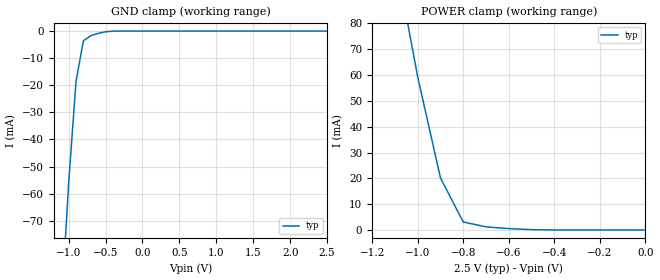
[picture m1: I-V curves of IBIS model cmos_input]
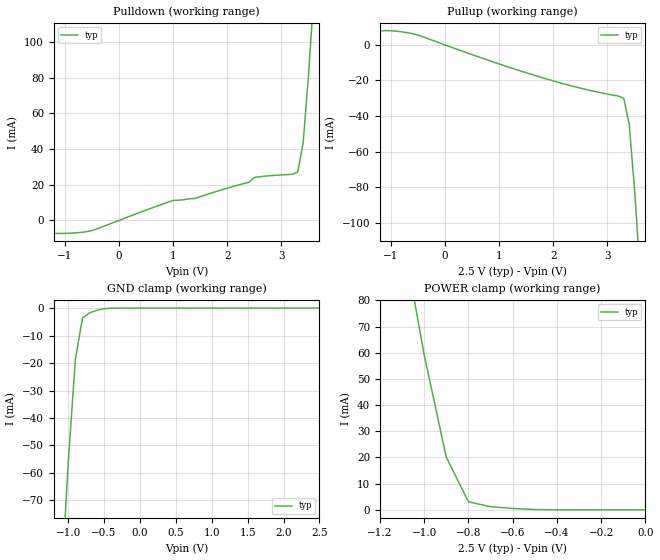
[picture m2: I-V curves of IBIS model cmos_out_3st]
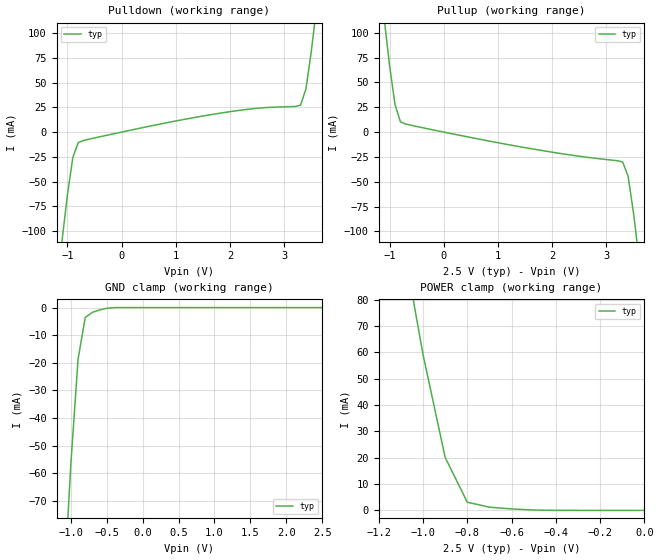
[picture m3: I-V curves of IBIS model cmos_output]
|   This file is an IBIS representation of the   |
|   analog devices   |
|   AD9361   |
|=================== Header Section -------------------------------------------|
[IBIS Ver]  3.2
[File Name] ad9361_2p5_lvds_r2.ibs
[File Rev]  2
[Source]   This file originated at Analog Devices.
[Date]   03-19-2012
[Notes]
|   Quality Check Passes IBIS Checker with 7 warnings. The LVDS
|   pullup and pulldown curves do represent circuit operation,
|   even though the IBIS modelling inidicates warnings. For
|   proper simulation of LVDS drivers, external placement 50ohm
|   terminations to 1.2V is necessary.
[Disclaimer]
|   This IBIS model is provided "AS IS, Where IS, AND WITH NO
|   WARRANTY OF ANY KINND EITHER EXPRESSED OR IMPLIED, INCLUDING
|   BUT NOT LIMITED TO ANY IMPLIED WARRANTIES OF MECHANTABILITY
|   AND FITNESS FOR A PARTICULAR PURPOSE."
|   In no event will Analog Devices be liable for special, colloateral,
|   incidental, or consequential damages in connection with or
|   arising out of the use of this IBIS model. Analog Devices reserves
|   the right to make changes to the products and IBIS models without
|   prior notice.
[Copyright]   copyright (c)2011 Analog Devices, All rights reserved.
[Component] AD9361
[Manufacturer] Analog Devices
[Package]
|Variable typ   min   max
R_pkg  0.350ohms   NA   NA
L_pkg  2.0nH   NA   NA
C_pkg  .50pF   NA   NA
[Pin]   signal_name   model_name   R_pin   L_pin   C_pin
A1   RX2A_N   NC   NA   NA   NA
A2   RX2A_P   NC   NA   NA   NA
A3   RX2_SA_LNA_OUT   NC   NA   NA   NA
A4   RX2_SA_LNA_IN   NC   NA   NA   NA
A5   TX_MON2   NC   NA   NA   NA
A6   VSSA   GND   NA   NA   NA
A7   TX2A_N   NC   NA   NA   NA
A8   TX2A_P   NC   NA   NA   NA
A9   TX2B_N   NC   NA   NA   NA
A10   TX2B_P   NC   NA   NA   NA
A11   VDDA1P1_TX_VCO   NC   NA   NA   NA
A12   TX_EXT_LO_IN   NC   NA   NA   NA
B1   VSSA   GND   NA   NA   NA
B2   VSSA   GND   NA   NA   NA
B3   AUXDAC1   NC   NA   NA   NA
B4   GPO_3   GPO   NA   NA   NA
B5   GPO_2   GPO   NA   NA   NA
B6   GPO_1   GPO   NA   NA   NA
B7   GPO_0   GPO   NA   NA   NA
B8   VDDA_GPO   POWER   NA   NA   NA
B9   VDDA1P3_TX_LO   POWER   NA   NA   NA
B10   VDDA1P3_TX_VCO_LDO   POWER   NA   NA   NA
B11   TX_VCO_LDO_OUT   NC   NA   NA   NA
B12   VSSA   GND   NA   NA   NA
C1   RX2C_P   NC   NA   NA   NA
C2   VSSA   GND   NA   NA   NA
C3   AUXDAC2   NC   NA   NA   NA
C4   TEST/ENABLE   cmos_input   NA   NA   NA
C5   CTRL_IN0   cmos_input   NA   NA   NA
C6   CTRL_IN1   cmos_input   NA   NA   NA
C7   VSSA   GND   NA   NA   NA
C8   VSSA   GND   NA   NA   NA
C9   VSSA   GND   NA   NA   NA
C10   VSSA   GND   NA   NA   NA
C11   VSSA   GND   NA   NA   NA
C12   VSSA   GND   NA   NA   NA
D1   RX2C_N   NC   NA   NA   NA
D2   VDDA1P3_RX_RF   POWER   NA   NA   NA
D3   VDDA1P3_RX_TX   POWER   NA   NA   NA
D4   CTRL_OUT0   cmos_output   NA   NA   NA
D5   CTRL_IN3   cmos_input   NA   NA   NA
D6   CTRL_IN2   cmos_input   NA   NA   NA
D7   P0_D9-TX_D4_P   p0_LVDS_IN   NA   NA   NA
D8   P0_D7-TX_D3_P   p0_LVDS_IN   NA   NA   NA
D9   P0_D5-TX_D2_P   p0_LVDS_IN   NA   NA   NA
D10   P0_D3-TX_D1_P   p0_LVDS_IN   NA   NA   NA
D11   P0_D1-TX_D0_P   p0_LVDS_IN   NA   NA   NA
D12   VSSD   GND   NA   NA   NA
E1   RX2B_P   NC   NA   NA   NA
E2   VDDA1P3_RX_LO   POWER   NA   NA   NA
E3   VDDA1P3_TX_LO_BUFFER  POWER   NA   NA   NA
E4   CTRL_OUT1   cmos_output   NA   NA   NA
E5   CTRL_OUT2   cmos_output   NA   NA   NA
E6   CTRL_OUT3   cmos_output   NA   NA   NA
E7   P0_D11-TX_D5_P   p0_LVDS_IN   NA   NA   NA
E8   P0_D8-TX_D4_N   p0_LVDS_IN   NA   NA   NA
E9   P0_D6-TX_D3_N   p0_LVDS_IN   NA   NA   NA
E10   P0_D4-TX_D2_N   p0_LVDS_IN   NA   NA   NA
E11   P0_D2-TX_D1_N   p0_LVDS_IN   NA   NA   NA
E12   P0_D0-TX_D0_N   p0_LVDS_IN   NA   NA   NA
F1   RX2B_N   NC   NA   NA   NA
F2   VDDA1P3_RX_VCO_LDO   POWER   NA   NA   NA
F3   VSSA   GND   NA   NA   NA
F4   CTRL_OUT6   cmos_output   NA   NA   NA
F5   CTRL_OUT5   cmos_output   NA   NA   NA
F6   CTRL_OUT4   cmos_output   NA   NA   NA
F7   VSSD   GND   NA   NA   NA
F8   P0_D10-TX_D5_N   p0_LVDS_IN   NA   NA   NA
F9   VSSD   GND   NA   NA   NA
F10   FB_CLK_P   p0_LVDS_IN   NA   NA   NA
F11   VSSD   GND   NA   NA   NA
F12   VDDD1P3_DIG   POWER   NA   NA   NA
G1   RX_EXT_LO_IN   NC   NA   NA   NA
G2   RX_VCO_LDO_OUT   NC   NA   NA   NA
G3   VDDA1P1_RX_VCO   NC   NA   NA   NA
G4   CTRL_OUT7   cmos_output   NA   NA   NA
G5   EN_AGC   cmos_input   NA   NA   NA
G6   ENABLE   cmos_input   NA   NA   NA
G7   RX_FRAME_N   p1_LVDS_OUT   NA   NA   NA
G8   RX_FRAME_P   p1_LVDS_OUT   NA   NA   NA
G9   TX_FRAME_P   p0_LVDS_IN   NA   NA   NA
G10   FB_CLK_N   p0_LVDS_IN   NA   NA   NA
G11   DATA_CLK_P   p1_LVDS_OUT   NA   NA   NA
G12   VSSD   GND   NA   NA   NA
H1   RX1B_P   NC   NA   NA   NA
H2   VSSA   GND   NA   NA   NA
H3   VSSA   GND   NA   NA   NA
H4   TXNRX   cmos_input   NA   NA   NA
H5   SYNC_IN   cmos_input   NA   NA   NA
H6   REF_CLK_IN   NC   NA   NA   NA
H7   VSSD   GND   NA   NA   NA
H8   P1_D11-RX_D5_P   p1_LVDS_OUT   NA   NA   NA
H9   TX_FRAME_N   p0_LVDS_IN   NA   NA   NA
H10   VSSD   GND   NA   NA   NA
H11   DATA_CLK_N   p1_LVDS_OUT   NA   NA   NA
H12   VDD_INTERFACE   POWER   NA   NA   NA
J1   RX1B_N   NC   NA   NA   NA
J2   VSSA   GND   NA   NA   NA
J3   VDDA1P3_RX_SYNTH   POWER   NA   NA   NA
J4   SPI_DI   cmos_bidir   NA   NA   NA
J5   SPI_CLK   cmos_input   NA   NA   NA
J6   CLK_OUT   cmos_output   NA   NA   NA
J7   P1_D10-RX_D5_N   p1_LVDS_OUT   NA   NA   NA
J8   P1_D9-RX_D4_P   p1_LVDS_OUT   NA   NA   NA
J9   P1_D7-RX_D3_P   p1_LVDS_OUT   NA   NA   NA
J10   P1_D5-RX_D2_P   p1_LVDS_OUT   NA   NA   NA
J11   P1_D3-RX_D1_P   p1_LVDS_OUT   NA   NA   NA
J12   P1_D1-RX_D0_P   p1_LVDS_OUT   NA   NA   NA
K1   RX1C_P   NC   NA   NA   NA
K2   VSSA   GND   NA   NA   NA
K3   VDDA1P3_TX_SYNTH   POWER   NA   NA   NA
K4   VDDA1P3_BB   POWER   NA   NA   NA
K5   RESETB   cmos_input   NA   NA   NA
K6   SPI_ENB   cmos_input   NA   NA   NA
K7   P1_D8-RX_D4_N   p1_LVDS_OUT   NA   NA   NA
K8   P1_D6-RX_D3_N   p1_LVDS_OUT   NA   NA   NA
K9   P1_D4-RX_D2_N   p1_LVDS_OUT   NA   NA   NA
K10   P1_D2-RX_D1_N   p1_LVDS_OUT   NA   NA   NA
K11   P1_D0-RX_D0_N   p1_LVDS_OUT   NA   NA   NA
K12   VSSD   GND   NA   NA   NA
L1   RX1C_N   NC   NA   NA   NA
L2   VSSA   GND   NA   NA   NA
L3   VSSA   GND   NA   NA   NA
L4   RBIAS   NC   NA   NA   NA
L5   AUXADC   NC   NA   NA   NA
L6   SPI_DO   cmos_out_3st   NA   NA   NA
L7   VSSA   GND   NA   NA   NA
L8   VSSA   GND   NA   NA   NA
L9   VSSA   GND   NA   NA   NA
L10   VSSA   GND   NA   NA   NA
L11   VSSA   GND   NA   NA   NA
L12   VSSA   GND   NA   NA   NA
M1   RX1A_P   NC   NA   NA   NA
M2   RX1A_N   NC   NA   NA   NA
M3   RX1_SA_LNA_OUT   NC   NA   NA   NA
M4   RX1_SA_LNA_IN   NC   NA   NA   NA
M5   TX_MON1   NC   NA   NA   NA
M6   VSSA   GND   NA   NA   NA
M7   TX1A_P   NC   NA   NA   NA
M8   TX1A_N   NC   NA   NA   NA
M9   TX1B_P   NC   NA   NA   NA
M10   TX1B_N   NC   NA   NA   NA
M11   XTALP   NC   NA   NA   NA
M12   XTALN   NC   NA   NA   NA
[Diff_pin]   inv_pin   vdiff   tdelay_typ   tdelay_min   tdelay_max
| LVDS OUTPUTS (p1):  The Diff_pin is "P" pin and the inv_pin is the "N" pin
| RX_FRAME_P   RX_FRAME_N
G8   G7   NA   0   0   0
| DATA_CLK_P   DATA_CLK_N
G11   H11   NA   0   0   0
| P1_D1-RX_D0_P   P1_D0-RX_D0_N
J12   K11   NA   0   0   0
| P1_D3-RX_D1_P   P1_D2-RX_D1_N
J11   K10   NA   0   0   0
| P1_D5-RX_D2_P   P1_D4-RX_D2_N
J10   K9   NA   0   0   0
| P1_D7-RX_D3_P   P1_D6-RX_D3_N
J9   K8   NA   0   0   0
| P1_D9-RX_D4_P   P1_D8-RX_D4_N
J8   K7   NA   0   0   0
| P1_D11-RX_D5_P  P1_D10-RX_D5_N
H8   J7   NA   0   0   0
| Models and submodels in the file (7): cmos_input (Input), cmos_out_3st (3-state), cmos_output (Output), cmos_bidir (I/O), GPO (3-state), p0_LVDS_IN (Input), p1_LVDS_OUT (3-state)
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[Model] cmos_input
Model_type Input
Vinl = 0.875
Vinh = 1.625
|   typ   min   max
C_comp  4pF   NA   NA
|   typ   min   max
[Voltage Range]   2.500V  NA   NA
[GND Clamp Reference]   0.000V  NA   NA
[POWER Clamp Reference] 2.500V  NA   NA
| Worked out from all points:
|   GND clamp passes 1 mA (typ) near -0.62 V on its own axis
|   POWER clamp passes 1 mA (typ) near -0.67 V on its own axis
[GND Clamp]
| Voltage  I(typ)   I(min)  I(max)
-2.5V     -857.6mA   NA         NA
-1.1V     -103.1mA   NA         NA
-1V       -56.47mA   NA         NA
-900mV    -18.66mA   NA         NA
-800mV    -3.584mA   NA         NA
-700mV    -1.725mA   NA         NA
-500mV    -242.9uA   NA         NA
-400mV    -23.56uA   NA         NA
2.5V      90pA       NA         NA
[POWER Clamp]
-2.5V     862.9mA    NA         NA
-1.1V     106.5mA    NA         NA
-1V       59.26mA    NA         NA
-900mV    20.15mA    NA         NA
-800mV    3.092mA    NA         NA
-700mV    1.208mA    NA         NA
-500mV    127uA      NA         NA
0V        90pA       NA         NA
[model] cmos_out_3st
Model_type 3-state
Cref=3.000pF
Rref=10kOhm
Vref=2.5V
Vmeas=2.3V
C_comp   4pF   NA   NA
[Voltage Range]   2.500V  NA   NA
[GND Clamp Reference]   0.000V  NA   NA
[POWER Clamp Reference] 2.500V  NA   NA
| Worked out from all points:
|   slope of the pulldown table from 0 to 0.375 V, typ, clamps not added: 86.2 ohm
|   slope of the pullup table from 0 to 0.375 V, typ, clamps not added: 91.1 ohm
|   GND clamp passes 1 mA (typ) near -0.62 V on its own axis
|   POWER clamp passes 1 mA (typ) near -0.67 V on its own axis
[GND Clamp]
| Voltage  I(typ)   I(min)  I(max)
-2.5V     -857.6mA   NA         NA
-1.1V     -103.1mA   NA         NA
-1V       -56.47mA   NA         NA
-900mV    -18.66mA   NA         NA
-800mV    -3.584mA   NA         NA
-700mV    -1.725mA   NA         NA
-500mV    -242.9uA   NA         NA
-400mV    -23.56uA   NA         NA
2.5V      90pA       NA         NA
[POWER Clamp]
| Voltage  I(typ)   I(min)  I(max)
-2.5V     862.9mA    NA         NA
-1.1V     106.5mA    NA         NA
-1V       59.26mA    NA         NA
-900mV    20.15mA    NA         NA
-800mV    3.092mA    NA         NA
-700mV    1.208mA    NA         NA
-500mV    127uA      NA         NA
0V        90pA       NA         NA
[Pulldown]
| Voltage  I(typ)   I(min)  I(max)
-2.5V     -3.122mA   NA         NA
-1.3V     -7.208mA   NA         NA
-600mV    -6.316mA   NA         NA
1V        11.21mA    NA         NA
1.4V      12.25mA    NA         NA
2.4V      21.4mA     NA         NA
2.5V      24.01mA    NA         NA
3.3V      27.12mA    NA         NA
3.4V      43.47mA    NA         NA
3.5V      81.75mA    NA         NA
3.6V      127.9mA    NA         NA
5V        868.8mA    NA         NA
[Pullup]
| Voltage  I(typ)   I(min)  I(max)
-2.5V     3.359mA    NA         NA
-1.2V     7.814mA    NA         NA
-900mV    7.685mA    NA         NA
-600mV    6.302mA    NA         NA
1.7V      -17.53mA   NA         NA
2.5V      -24.29mA   NA         NA
3.2V      -28.75mA   NA         NA
3.3V      -30.07mA   NA         NA
3.4V      -44.47mA   NA         NA
3.5V      -81.48mA   NA         NA
3.6V      -127.2mA   NA         NA
5V        -866.4mA   NA         NA
[Ramp]
|   typ   min   max
dV/dt_r   1.625V/.111ns   NA   NA
dV/dt_f   1.625V/.106ns   NA   NA
R_load=10k
|----------------End of cmos_out_3st Model-----------------*******-----------
[MODEL] cmos_output
Model_type   Output
Polarity   Non-Inverting
Cref  =   3.000pF
Rref  =   10kOhm
Vref  =   2.5V
Vmeas =   2.3V
|   typ   min   max
C_comp   3.000pF   NA   NA
[Voltage Range]   2.50V   NA   NA
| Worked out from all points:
|   slope of the pulldown table from 0 to 0.375 V, typ, clamps not added: 86.2 ohm
|   slope of the pullup table from 0 to 0.375 V, typ, clamps not added: 91.1 ohm
|   GND clamp passes 1 mA (typ) near -0.62 V on its own axis
|   POWER clamp passes 1 mA (typ) near -0.67 V on its own axis
[GND Clamp]
| Voltage  I(typ)   I(min)  I(max)
-2.5V     -857.6mA   NA         NA
-1.1V     -103.1mA   NA         NA
-1V       -56.47mA   NA         NA
-900mV    -18.66mA   NA         NA
-800mV    -3.584mA   NA         NA
-700mV    -1.725mA   NA         NA
-500mV    -242.9uA   NA         NA
-400mV    -23.56uA   NA         NA
2.5V      90pA       NA         NA
[POWER Clamp]
| Voltage  I(typ)   I(min)  I(max)
-2.5V     862.9mA    NA         NA
-1.1V     106.5mA    NA         NA
-1V       59.26mA    NA         NA
-900mV    20.15mA    NA         NA
-800mV    3.092mA    NA         NA
-700mV    1.208mA    NA         NA
-500mV    127uA      NA         NA
0V        90pA       NA         NA
[Pulldown]
| Voltage  I(typ)   I(min)  I(max)
-2.5V     -860.7mA   NA         NA
-1.1V     -110.4mA   NA         NA
-1V       -63.72mA   NA         NA
-900mV    -25.81mA   NA         NA
-800mV    -10.55mA   NA         NA
1.6V      17.16mA    NA         NA
2.4V      23.45mA    NA         NA
3.3V      27.12mA    NA         NA
3.4V      43.47mA    NA         NA
3.5V      81.75mA    NA         NA
3.6V      127.9mA    NA         NA
5V        868.8mA    NA         NA
[Pullup]
| Voltage  I(typ)   I(min)  I(max)
-2.5V     866.2mA    NA         NA
-1.1V     114.4mA    NA         NA
-900mV    27.83mA    NA         NA
-800mV    10.41mA    NA         NA
-700mV    8.075mA    NA         NA
-400mV    4.486mA    NA         NA
1.3V      -13.71mA   NA         NA
3.3V      -30.07mA   NA         NA
3.4V      -44.47mA   NA         NA
3.5V      -81.48mA   NA         NA
3.6V      -127.2mA   NA         NA
5V        -866.4mA   NA         NA
[Ramp]
|   typ   min   max
dV/dt_r   1.625V/.110ns   NA   NA
dV/dt_f   1.625V/.107ns   NA   NA
R_load=10k
|----------------------------end cmos_output model---------------
